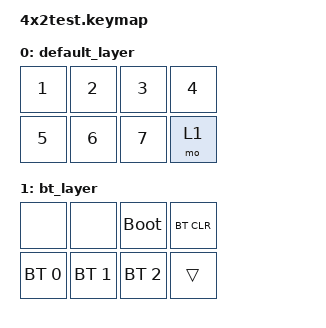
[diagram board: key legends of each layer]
#include <behaviors.dtsi>
#include <dt-bindings/zmk/keys.h>
#include <dt-bindings/zmk/bt.h>

/ {
    keymap {
        compatible = "zmk,keymap";

        // 2 rows × 4 cols:
        // Top:  1  2  3  4
        // Bottom: 5  6  7  [BT hold]
        default_layer {
            bindings = <
                &kp N1  &kp N2  &kp N3  &kp N4
                &kp N5  &kp N6  &kp N7  &mo 1
            >;
        };

        // Bluetooth layer (hold the BT key to use these)
        bt_layer {
            bindings = <
                &none        &none        &bootloader   &bt BT_CLR
                &bt BT_SEL 0 &bt BT_SEL 1 &bt BT_SEL 2  &trans
            >;
        };
    };
};
